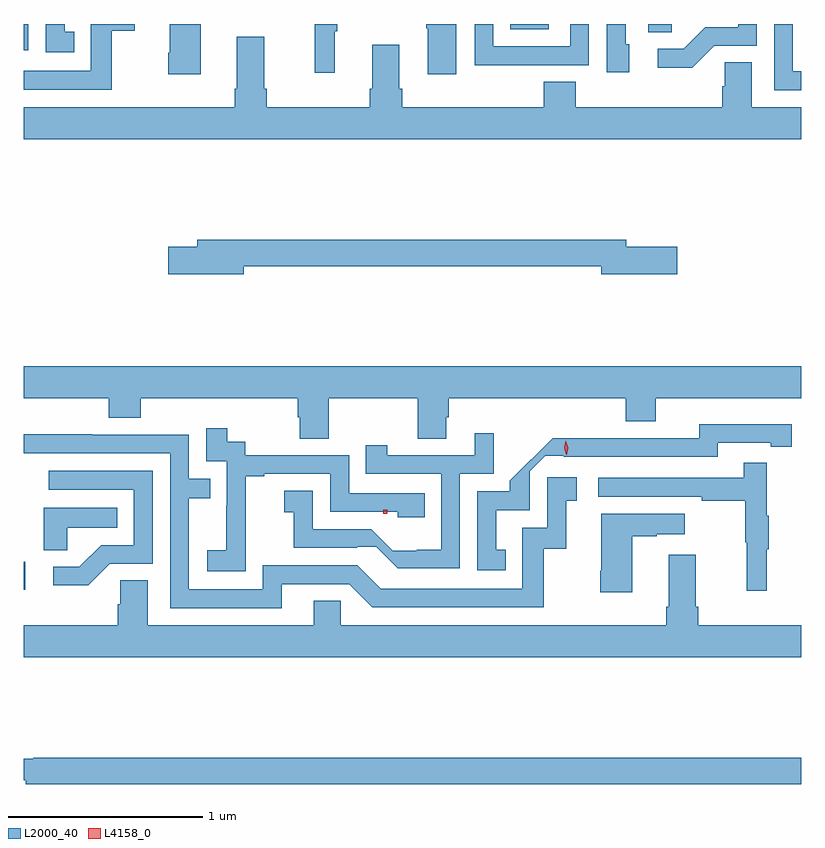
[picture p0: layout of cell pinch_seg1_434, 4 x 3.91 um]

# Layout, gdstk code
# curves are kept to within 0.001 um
import gdstk
lib = gdstk.Library(unit=1e-6, precision=1e-09)
def R(c, l, rs):  # rectangles x0, y0, x1, y1
    for r in rs: c.add(gdstk.rectangle(r[:2], r[2:], *l))
def P(c, l, *ps):  # polygons
    for p in ps: c.add(gdstk.Polygon(p, *l))
L2000_40 = (2000, 40)
L4158_0 = (4158, 0)

pinch_seg1_434 = lib.new_cell('pinch_seg1_434')
R(pinch_seg1_434, L2000_40, [(908.514,516.114,908.521,516.258), (908.514,518.889,908.538,519.025), (911.726,518.983,911.847,519.025), (911.018,518.999,911.215,519.025)])
P(pinch_seg1_434, L2000_40, [(912.066,518.913),(912.285,518.913),(912.285,519.025),(912.189,519.025),(912.189,519.009),(912.02,519.009),(911.909,518.898),(911.775,518.898),(911.775,518.801),(911.953,518.801)],
  [(908.774,518.985),(908.725,518.985),(908.725,519.025),(908.628,519.025),(908.628,518.88),(908.774,518.88)],
  [(912.514,518.781),(912.471,518.781),(912.471,519.025),(912.375,519.025),(912.375,518.685),(912.514,518.685)],
  [(909.424,519.025),(909.266,519.025),(909.266,518.878),(909.259,518.878),(909.259,518.766),(909.424,518.766)],
  [(910.738,519.025),(910.585,519.025),(910.585,519.004),(910.592,519.004),(910.592,518.766),(910.738,518.766)],
  [(911.629,518.922),(911.61,518.922),(911.61,519.025),(911.514,519.025),(911.514,518.778),(911.629,518.778)],
  [(910.115,518.987),(910.126,518.987),(910.126,519.025),(910.005,519.025),(910.005,519.024),(910.012,519.024),(910.012,518.775),(910.115,518.775)],
  [(911.105,518.814),(911.421,518.814),(911.421,519.025),(911.325,519.025),(911.325,518.91),(910.929,518.91),(910.929,519.025),(910.833,519.025),(910.833,518.813),(911.105,518.813)],
  [(908.968,518.991),(909.086,518.991),(909.086,519.025),(908.859,519.025),(908.859,518.784),(908.514,518.784),(908.514,518.688),(908.968,518.688)],
  [(912.514,518.596),(912.259,518.596),(912.259,518.828),(912.12,518.828),(912.12,518.705),(912.107,518.705),(912.107,518.596),(911.354,518.596),(911.354,518.729),(911.189,518.729),(911.189,518.596),(910.46,518.596),(910.46,518.692),(910.447,518.692),(910.447,518.917),(910.307,518.917),(910.307,518.692),(910.295,518.692),(910.295,518.596),(909.764,518.596),(909.764,518.692),(909.751,518.692),(909.751,518.959),(909.611,518.959),(909.611,518.692),(909.599,518.692),(909.599,518.596),(908.514,518.596),(908.514,518.432),(912.514,518.432)],
  [(909.646,517.78),(911.486,517.78),(911.486,517.738),(911.875,517.738),(911.875,517.88),(911.614,517.88),(911.614,517.916),(909.407,517.916),(909.407,517.88),(909.258,517.88),(909.258,517.738),(909.646,517.738)],
  [(908.514,517.1),(908.951,517.1),(908.951,517.001),(909.116,517.001),(909.116,517.1),(909.923,517.1),(909.923,517.002),(909.935,517.002),(909.935,516.892),(910.083,516.892),(910.083,517.1),(910.54,517.1),(910.54,516.892),(910.687,516.892),(910.687,517.002),(910.7,517.002),(910.7,517.1),(911.612,517.1),(911.612,516.983),(911.764,516.983),(911.764,517.1),(912.514,517.1),(912.514,517.264),(908.514,517.264)],
  [(910.994,516.321),(910.945,516.321),(910.945,516.525),(911.116,516.525),(911.116,516.724),(911.196,516.804),(911.293,516.804),(911.293,516.798),(912.084,516.798),(912.084,516.87),(912.356,516.87),(912.356,516.85),(912.464,516.85),(912.464,516.966),(911.988,516.967),(911.988,516.894),(911.235,516.895),(911.015,516.676),(911.015,516.621),(910.848,516.621),(910.848,516.216),(910.994,516.216)],
  [(909.657,516.415),(909.656,516.415),(909.656,516.699),(909.751,516.699),(909.751,516.711),(910.092,516.711),(910.092,516.516),(910.437,516.516),(910.437,516.488),(910.577,516.488),(910.577,516.612),(910.188,516.612),(910.188,516.807),(909.654,516.807),(909.654,516.876),(909.562,516.876),(909.562,516.946),(909.453,516.946),(909.453,516.777),(909.558,516.777),(909.558,516.548),(909.557,516.548),(909.557,516.319),(909.459,516.319),(909.459,516.209),(909.657,516.209)],
  [(910.758,516.711),(910.932,516.711),(910.932,516.919),(910.835,516.919),(910.835,516.807),(910.384,516.807),(910.384,516.859),(910.273,516.859),(910.273,516.711),(910.662,516.711),(910.662,516.322),(910.536,516.322),(910.536,516.315),(910.412,516.315),(910.301,516.426),(910.002,516.426),(910.002,516.625),(909.855,516.625),(909.855,516.515),(909.904,516.515),(909.904,516.33),(910.231,516.33),(910.231,516.336),(910.328,516.336),(910.439,516.225),(910.758,516.225)],
  [(909.841,516.144),(910.188,516.144),(910.308,516.024),(911.188,516.024),(911.188,516.327),(911.306,516.327),(911.306,516.573),(911.359,516.573),(911.359,516.694),(911.208,516.694),(911.208,516.435),(911.079,516.435),(911.079,516.12),(910.35,516.12),(910.23,516.24),(909.744,516.24),(909.744,516.117),(909.363,516.117),(909.363,516.586),(909.473,516.586),(909.473,516.687),(909.363,516.687),(909.363,516.912),(908.867,516.912),(908.867,516.914),(908.514,516.914),(908.514,516.816),(909.267,516.816),(909.267,516.021),(909.841,516.021)],
  [(912.335,516.323),(912.346,516.323),(912.346,516.497),(912.335,516.497),(912.335,516.769),(912.217,516.769),(912.217,516.69),(911.469,516.69),(911.469,516.594),(912.001,516.594),(912.001,516.574),(912.225,516.574),(912.225,516.36),(912.232,516.36),(912.232,516.111),(912.335,516.111)],
  [(908.958,516.249),(909.177,516.249),(909.177,516.726),(908.643,516.726),(908.643,516.63),(909.081,516.63),(909.081,516.345),(908.912,516.345),(908.801,516.234),(908.667,516.234),(908.667,516.137),(908.845,516.137)],
  [(908.739,516.434),(908.996,516.434),(908.996,516.538),(908.618,516.538),(908.618,516.319),(908.739,516.319)],
  [(911.644,516.391),(911.771,516.391),(911.771,516.401),(911.914,516.401),(911.914,516.505),(911.486,516.505),(911.486,516.214),(911.479,516.214),(911.479,516.102),(911.644,516.102)],
  [(912.514,515.932),(911.984,515.932),(911.984,516.028),(911.971,516.028),(911.971,516.295),(911.831,516.295),(911.831,516.028),(911.819,516.028),(911.819,515.932),(910.146,515.932),(910.146,516.059),(910.007,516.059),(910.007,515.932),(909.151,515.932),(909.151,516.164),(909.012,516.164),(909.012,516.041),(908.999,516.041),(908.999,515.932),(908.514,515.932),(908.514,515.768),(912.514,515.768)],
  [(912.514,515.252),(908.564,515.252),(908.564,515.245),(908.514,515.245),(908.514,515.135),(908.524,515.135),(908.524,515.116),(912.514,515.116)])
R(pinch_seg1_434, L4158_0, [(910.364,516.506,910.384,516.526)])
P(pinch_seg1_434, L4158_0, [(911.306,516.81),(911.294,516.845),(911.302,516.881),(911.302,516.881),(911.302,516.881),(911.314,516.846),(911.307,516.81),(911.307,516.81)])

lib.write_gds('pinch_seg1_434.gds')
